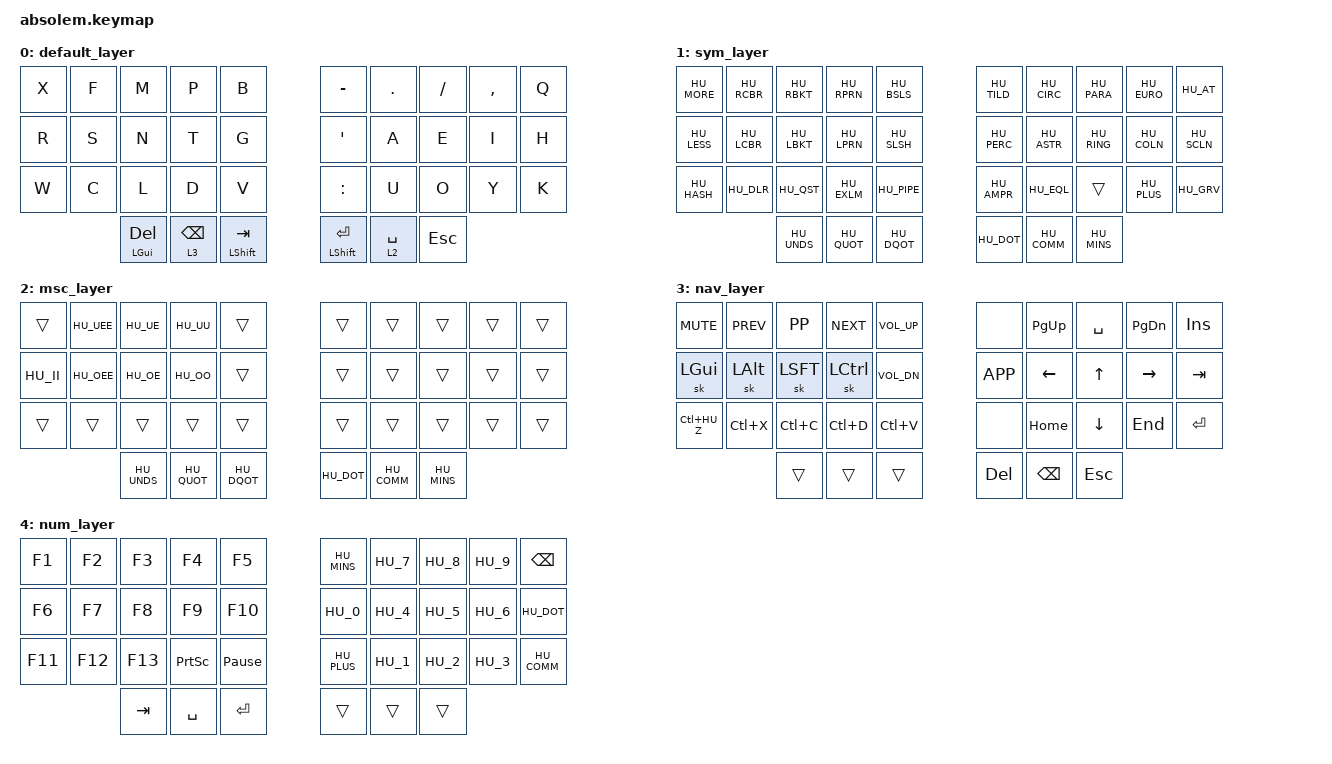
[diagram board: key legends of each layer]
/*
 * Copyright (c) 2020 The ZMK Contributors
 *
 * SPDX-License-Identifier: MIT
 */

#include <behaviors.dtsi>
#include <dt-bindings/zmk/keys.h>
#include <dt-bindings/zmk/bt.h>
#include <dt-bindings/zmk/ext_power.h>
#include "hungarian.h"


/ {
    keymap {
        compatible = "zmk,keymap";

        default_layer {

            bindings = <
                &kp X    &kp F &kp M &kp P &kp B        			&kp MINUS &kp DOT &kp FSLH &kp COMMA &kp Q
                &kp R    &kp S &kp N &kp T &kp G        			&kp APOS &kp A &kp E &kp I    &kp H
                &kp W    &kp C &kp L &kp D &kp V        			&kp COLON &kp U &kp O &kp Y    &kp K
                &mt LGUI DEL &lt 3 BSPC &mt LSHIFT TAB      	    &mt LSHIFT ENTER &lt 2 SPACE   &kp ESC
            >;
        };



        sym_layer {

            bindings = <
                &kp HU_MORE &kp HU_RCBR &kp HU_RBKT  &kp HU_RPRN  &kp HU_BSLS  	    &kp HU_TILD &kp HU_CIRC &kp HU_PARA &kp HU_EURO &kp HU_AT
                &kp HU_LESS &kp HU_LCBR &kp HU_LBKT  &kp HU_LPRN  &kp HU_SLSH       &kp HU_PERC &kp HU_ASTR &kp HU_RING &kp HU_COLN &kp HU_SCLN
                &kp HU_HASH &kp HU_DLR  &kp HU_QST   &kp HU_EXLM  &kp HU_PIPE 	    &kp HU_AMPR &kp HU_EQL  &trans      &kp HU_PLUS &kp HU_GRV
                                        &kp HU_UNDS  &kp HU_QUOT  &kp HU_DQOT		&kp HU_DOT  &kp HU_COMM &kp HU_MINS
            >;
        };


    
        msc_layer {

            bindings = <
                &trans    &kp HU_UEE &kp HU_UE   &kp HU_UU   &trans         	&trans     &trans      &trans      &trans &trans
                &kp HU_II &kp HU_OEE &kp HU_OE   &kp HU_OO   &trans             &trans     &trans      &trans      &trans &trans
                &trans    &trans     &trans      &trans      &trans         	&trans     &trans      &trans      &trans &trans
                                     &kp HU_UNDS &kp HU_QUOT &kp HU_DQOT		&kp HU_DOT &kp HU_COMM &kp HU_MINS
            >;
        };



        nav_layer {

            bindings = <
                &kp K_MUTE   &kp K_PREV &kp K_PP  &kp K_NEXT &kp K_VOL_UP  		    &none     &kp PG_UP &kp SPACE &kp PG_DN &kp INS
                &sk LGUI     &sk LALT   &sk LSFT  &sk LCTL   &kp K_VOL_DN   		&kp K_APP &kp LEFT  &kp UP    &kp RIGHT &kp TAB
                &kp LC(HU_Z) &kp LC(X)  &kp LC(C) &kp LC(D)  &kp LC(V) 		        &none     &kp HOME  &kp DOWN  &kp END   &kp RET
                                        &trans    &trans     &trans                 &kp DEL   &kp BKSP  &kp ESC
            >;
        };



        num_layer {

            bindings = <
                &kp F1    &kp F2    &kp F3    &kp F4          &kp F5  		          &kp HU_MINS &kp HU_7 &kp HU_8 &kp HU_9 &kp BKSP
                &kp F6    &kp F7    &kp F8    &kp F9          &kp F10   		      &kp HU_0    &kp HU_4 &kp HU_5 &kp HU_6 &kp HU_DOT
                &kp F11   &kp F12   &kp F13	  &kp PRINTSCREEN &kp PAUSE_BREAK 		  &kp HU_PLUS &kp HU_1 &kp HU_2 &kp HU_3 &kp HU_COMM
                                    &kp TAB   &kp SPACE       &kp RET 			      &trans 	  &trans   &trans
            >;
        };

          
    };
};
